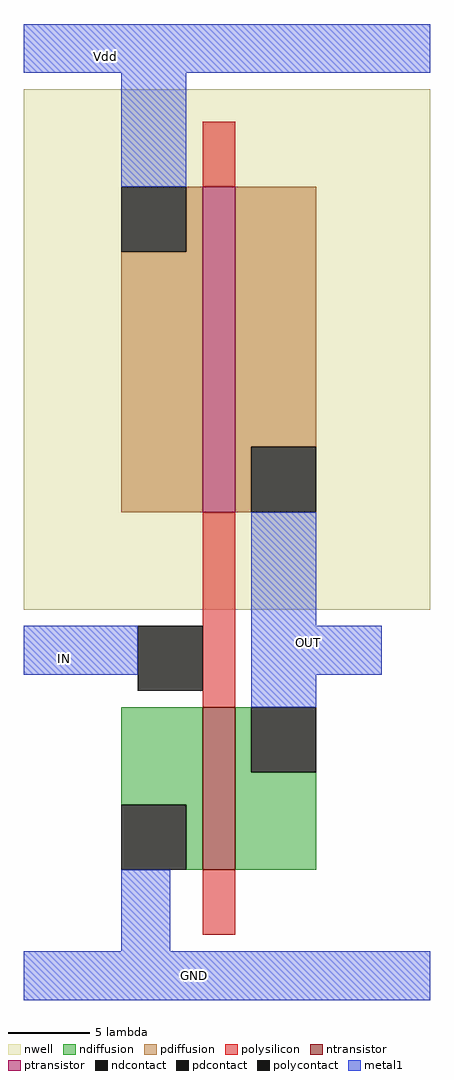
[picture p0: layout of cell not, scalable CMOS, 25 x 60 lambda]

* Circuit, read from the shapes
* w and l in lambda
.subckt not GND IN OUT Vdd
M1 OUT IN GND VSUBS nfet w=10 l=2
M2 OUT IN Vdd n1 pfet w=20 l=2
.ends

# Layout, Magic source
magic
tech scmos
<< nwell >>
rect 0 -6 25 26
<< polysilicon >>
rect 11 20 13 24
rect 11 -12 13 0
rect 11 -26 13 -22
<< ndiffusion >>
rect 6 -18 11 -12
rect 10 -22 11 -18
rect 13 -16 14 -12
rect 13 -22 18 -16
<< pdiffusion >>
rect 10 16 11 20
rect 6 0 11 16
rect 13 4 18 20
rect 13 0 14 4
<< metal1 >>
rect 0 27 25 30
rect 6 20 10 27
rect 14 -7 18 0
rect 0 -10 7 -7
rect 14 -10 22 -7
rect 14 -12 18 -10
rect 6 -27 9 -22
rect 0 -30 25 -27
<< ntransistor >>
rect 11 -22 13 -12
<< ptransistor >>
rect 11 0 13 20
<< polycontact >>
rect 7 -11 11 -7
<< ndcontact >>
rect 6 -22 10 -18
rect 14 -16 18 -12
<< pdcontact >>
rect 6 16 10 20
rect 14 0 18 4
<< labels >>
rlabel metal1 7 -30 14 -27 1 GND
rlabel metal1 16 -9 19 -7 1 OUT
rlabel metal1 1 -10 4 -8 3 IN
rlabel metal1 1 27 9 29 4 Vdd
<< end >>
